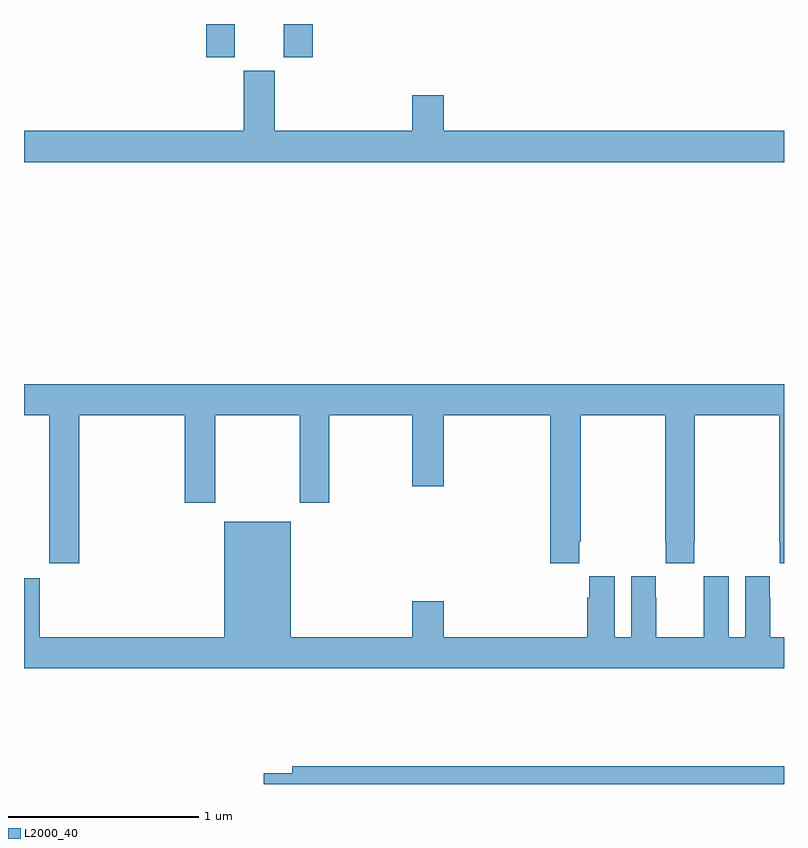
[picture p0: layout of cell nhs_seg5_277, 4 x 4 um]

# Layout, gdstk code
import gdstk
lib = gdstk.Library(unit=1e-6, precision=1e-09)
def R(c, l, rs):  # rectangles x0, y0, x1, y1
    for r in rs: c.add(gdstk.rectangle(r[:2], r[2:], *l))
def P(c, l, *ps):  # polygons
    for p in ps: c.add(gdstk.Polygon(p, *l))
L2000_40 = (2000, 40)

nhs_seg5_277 = lib.new_cell('nhs_seg5_277')
R(nhs_seg5_277, L2000_40, [(127.958,878.625,128.11,878.799), (128.366,878.625,128.519,878.799)])
P(nhs_seg5_277, L2000_40, [(131,878.236),(129.208,878.236),(129.208,878.425),(129.044,878.425),(129.044,878.236),(128.32,878.236),(128.32,878.553),(128.156,878.553),(128.156,878.236),(127,878.236),(127,878.072),(131,878.072)],
  [(127.292,876.74),(127.847,876.74),(127.847,876.279),(128.007,876.279),(128.007,876.74),(128.452,876.74),(128.452,876.279),(128.607,876.279),(128.607,876.74),(129.044,876.74),(129.044,876.366),(129.208,876.366),(129.208,876.74),(129.77,876.74),(129.77,875.961),(129.923,875.961),(129.923,876.073),(129.93,876.073),(129.93,876.74),(130.375,876.74),(130.375,876.073),(130.377,876.073),(130.377,875.961),(130.527,875.961),(130.527,876.073),(130.53,876.073),(130.53,876.74),(130.975,876.74),(130.975,876.073),(130.977,876.073),(130.977,875.961),(131,875.961),(131,876.904),(127,876.904),(127,876.74),(127.132,876.74),(127.132,875.961),(127.292,875.961)],
  [(131,875.572),(130.927,875.572),(130.927,875.78),(130.926,875.78),(130.926,875.893),(130.796,875.893),(130.796,875.572),(130.708,875.572),(130.708,875.893),(130.578,875.893),(130.578,875.78),(130.577,875.78),(130.577,875.572),(130.327,875.572),(130.327,875.78),(130.326,875.78),(130.326,875.893),(130.196,875.893),(130.196,875.572),(130.108,875.572),(130.108,875.893),(129.974,875.893),(129.974,875.78),(129.965,875.78),(129.965,875.572),(129.208,875.572),(129.208,875.761),(129.044,875.761),(129.044,875.572),(128.404,875.572),(128.404,876.178),(128.054,876.178),(128.054,875.572),(127.084,875.572),(127.084,875.881),(127,875.881),(127,875.408),(131,875.408)],
  [(131,874.892),(128.411,874.892),(128.411,874.856),(128.262,874.856),(128.262,874.799),(131,874.799)])

lib.write_gds('nhs_seg5_277.gds')
